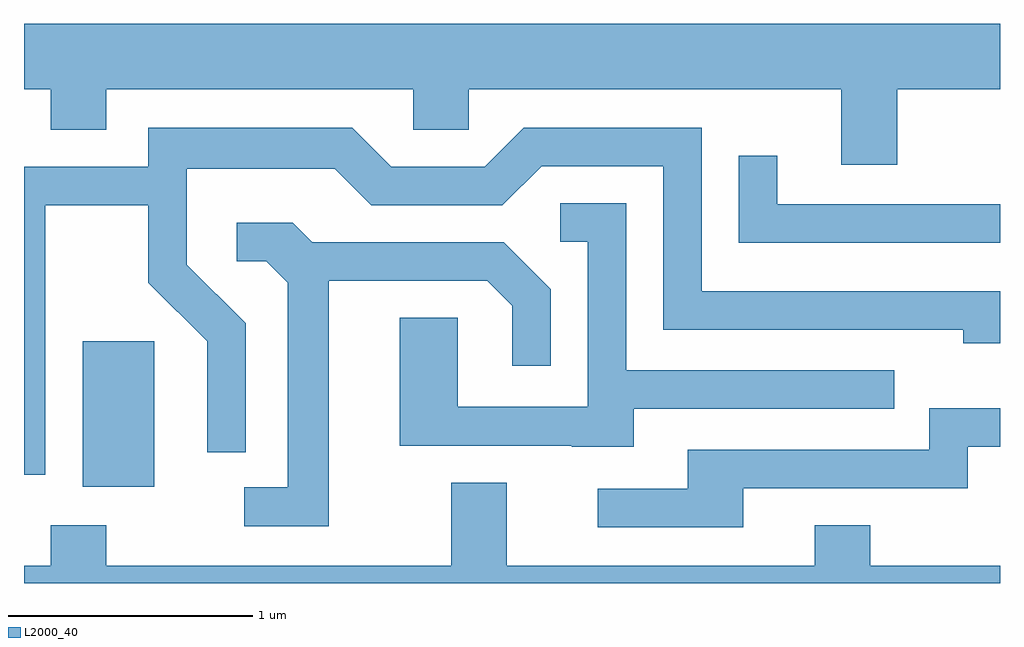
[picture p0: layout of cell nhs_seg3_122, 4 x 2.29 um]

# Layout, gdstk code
import gdstk
lib = gdstk.Library(unit=1e-6, precision=1e-09)
def R(c, l, rs):  # rectangles x0, y0, x1, y1
    for r in rs: c.add(gdstk.rectangle(r[:2], r[2:], *l))
def P(c, l, *ps):  # polygons
    for p in ps: c.add(gdstk.Polygon(p, *l))
L2000_40 = (2000, 40)

nhs_seg3_122 = lib.new_cell('nhs_seg3_122')
R(nhs_seg3_122, L2000_40, [(187.851,1224.286,188.144,1224.884)])
P(nhs_seg3_122, L2000_40, [(191.189,1225.916),(191.611,1225.916),(191.611,1226.184),(187.611,1226.184),(187.611,1225.916),(187.721,1225.916),(187.721,1225.751),(187.949,1225.751),(187.949,1225.916),(189.206,1225.916),(189.206,1225.751),(189.434,1225.751),(189.434,1225.916),(190.961,1225.916),(190.961,1225.606),(191.189,1225.606)],
  [(187.699,1225.441),(188.121,1225.441),(188.121,1225.124),(188.361,1224.884),(188.361,1224.428),(188.519,1224.428),(188.519,1224.957),(188.279,1225.197),(188.279,1225.591),(188.884,1225.591),(189.034,1225.441),(189.572,1225.441),(189.732,1225.601),(190.231,1225.601),(190.231,1224.931),(191.461,1224.931),(191.461,1224.876),(191.611,1224.876),(191.611,1225.089),(190.389,1225.089),(190.389,1225.759),(189.659,1225.759),(189.499,1225.599),(189.117,1225.599),(188.957,1225.759),(188.121,1225.759),(188.121,1225.599),(187.611,1225.599),(187.611,1224.336),(187.699,1224.336)],
  [(191.611,1225.444),(190.699,1225.444),(190.699,1225.643),(190.541,1225.643),(190.541,1225.286),(191.611,1225.286)],
  [(190.109,1224.606),(191.178,1224.606),(191.178,1224.764),(190.079,1224.764),(190.079,1225.449),(189.808,1225.449),(189.808,1225.291),(189.921,1225.291),(189.921,1224.614),(189.389,1224.614),(189.389,1224.979),(189.151,1224.979),(189.151,1224.456),(189.855,1224.456),(189.855,1224.451),(190.109,1224.451)],
  [(188.859,1225.131),(189.509,1225.131),(189.611,1225.029),(189.611,1224.783),(189.769,1224.783),(189.769,1225.097),(189.577,1225.289),(188.792,1225.289),(188.712,1225.369),(188.483,1225.369),(188.483,1225.211),(188.604,1225.211),(188.691,1225.124),(188.691,1224.284),(188.513,1224.284),(188.513,1224.126),(188.859,1224.126)],
  [(190.559,1224.281),(191.479,1224.281),(191.479,1224.451),(191.611,1224.451),(191.611,1224.609),(191.321,1224.609),(191.321,1224.439),(190.331,1224.439),(190.331,1224.279),(189.963,1224.279),(189.963,1224.121),(190.559,1224.121)],
  [(191.611,1223.964),(191.079,1223.964),(191.079,1224.129),(190.851,1224.129),(190.851,1223.964),(189.589,1223.964),(189.589,1224.304),(189.361,1224.304),(189.361,1223.964),(187.949,1223.964),(187.949,1224.129),(187.721,1224.129),(187.721,1223.964),(187.611,1223.964),(187.611,1223.892),(191.611,1223.892)])

lib.write_gds('nhs_seg3_122.gds')
